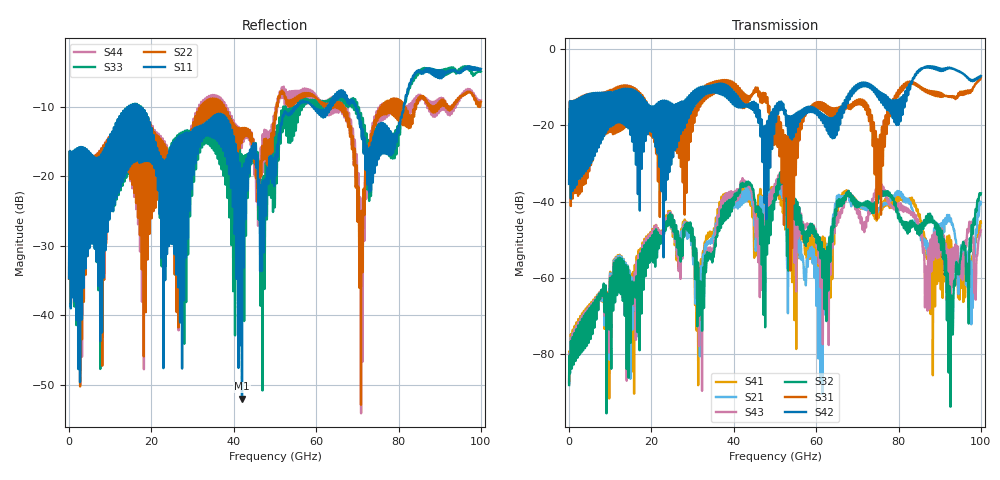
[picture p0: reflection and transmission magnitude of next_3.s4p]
# Hz S RI R 50
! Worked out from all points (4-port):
!   10000 points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, 10 MHz to 100 GHz, reference 50 ohm
!   strongest paths, dB at 10 MHz, 25.01 GHz, 50.01 GHz, 75.01 GHz, 100 GHz:
!     S42: -35.3, -14.4, -15.0, -11.9, -7.0
!     S31: -35.2, -20.6, -16.6, -23.9, -7.4
!     S32: -88.1, -43.5, -38.5, -38.9, -37.8
!     S43: -87.7, -43.4, -35.5, -36.2, -47.5
!     S21: -87.5, -43.5, -37.1, -42.6, -40.1
!     S41: -87.1, -43.5, -36.7, -43.6, -45.5
!   lowest |S11| = -52.0 dB at 41.99 GHz (marker M1), VSWR 1.01, Z = 49.9 - j0.22 ohm
!   |S11| at or under -10 dB: start of sweep to 14.55 GHz; 16.92 GHz to 55.16 GHz (38.24 GHz wide, 106 % of centre); 69.67 GHz to 81.26 GHz (11.59 GHz wide, 15.4 % of centre)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
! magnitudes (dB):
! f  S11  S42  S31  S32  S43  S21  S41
! 10 MHz  -34.7  -35.3  -35.2  -88.1  -87.7  -87.5  -87.1
! 31.93 GHz  -12.7  -10.3  -12.7  -64.6  -68.7  -58.9  -56.5
! 41.99 GHz  -52.0  -15.3  -12.3  -35.8  -35.2  -38.6  -37.8
! 60.57 GHz  -10.4  -16.6  -14.0  -52.6  -54.4  -68.9  -53.9
! 77.39 GHz  -16.3  -12.6  -16.3  -37.2  -40.1  -40.3  -41.0
! 92.91 GHz  -4.7  -5.0  -12.6  -65.3  -54.0  -45.9  -53.4
! 100 GHz  -4.6  -7.0  -7.4  -37.8  -47.5  -40.1  -45.5
